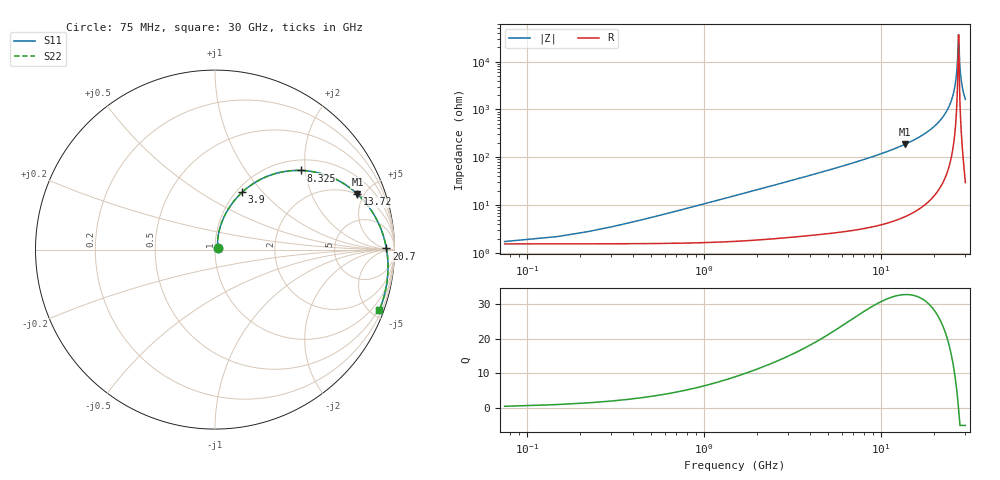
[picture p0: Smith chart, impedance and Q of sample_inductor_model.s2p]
! Inductor model fitted by inductor_fit.py 1.2 from sample_inductor.s2p
#  Hz  S  RI  R  50
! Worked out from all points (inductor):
!   400 points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, 75 MHz to 30 GHz, reference 50 ohm
!   read as one part in series: L = 1.66 nH near 450 MHz
!   highest Q = 32.7 at 13.72 GHz (marker M1), where L = 2.18 nH
!   self-resonance near 27.38 GHz
!   S11 on the Smith chart (normalised r, x): 75 MHz: 1.03, +0.01; 3.9 GHz: 1.06, +0.78; 8.325 GHz: 1.23, +1.89; 13.72 GHz: 1.99, +4.48; 20.7 GHz: 43, +7; 30 GHz: 0.39, -5.56
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7.5e7  0.0151 0.00623  0.9846 -0.009  0.9846 -0.009  0.0151 0.00623
6e8  0.015 0.0539  0.9764 -0.0674  0.9764 -0.0674  0.015 0.0539
1.275e9  0.0266 0.1181  0.9597 -0.1354  0.9597 -0.1354  0.0266 0.1181
2.325e9  0.0645 0.2094  0.9197 -0.2333  0.9197 -0.2333  0.0645 0.2094
3.9e9  0.1519 0.3201  0.8313 -0.3563  0.8313 -0.3563  0.1519 0.3201
5.1e9  0.2346 0.3808  0.7481 -0.4268  0.7481 -0.4268  0.2346 0.3808
8.325e9  0.4772 0.4411  0.5035 -0.5148  0.5035 -0.5148  0.4772 0.4411
1.005e10  0.5968 0.422  0.3825 -0.5107  0.3825 -0.5107  0.5968 0.422
1.3725e10  0.7938 0.3089  0.1816 -0.4304  0.1816 -0.4304  0.7938 0.3089
1.5075e10  0.8448 0.2537  0.1287 -0.3875  0.1287 -0.3875  0.8448 0.2537
2.0025e10  0.9491 0.036  0.016 -0.2163  0.016 -0.2163  0.9491 0.036
2.07e10  0.9551 0.00674  0.00866 -0.1936  0.00866 -0.1936  0.9551 0.00674
2.325e10  0.964 -0.0994  -0.00614 -0.1128  -0.00614 -0.1128  0.964 -0.0994
2.505e10  0.9596 -0.1694  -0.00652 -0.0611  -0.00652 -0.0611  0.9596 -0.1694
2.6025e10  0.9542 -0.2055  -0.00398 -0.0353  -0.00398 -0.0353  0.9542 -0.2055
2.67e10  0.9493 -0.2296  -0.00126 -0.0183  -0.00126 -0.0183  0.9493 -0.2296
2.7075e10  0.9463 -0.2428  0.000562 -0.00917  0.000562 -0.00917  0.9463 -0.2428
2.745e10  0.9431 -0.2557  0.00259 -0.000274  0.00259 -0.000274  0.9431 -0.2557
2.775e10  0.9403 -0.2659  0.00434 0.00668  0.00434 0.00668  0.9403 -0.2659
2.82e10  0.9359 -0.281  0.0072 0.0168  0.0072 0.0168  0.9359 -0.281
2.895e10  0.9279 -0.3055  0.0125 0.033  0.0125 0.033  0.9279 -0.3055
3e10  0.9155 -0.3384  0.0209 0.0542  0.0209 0.0542  0.9155 -0.3384
